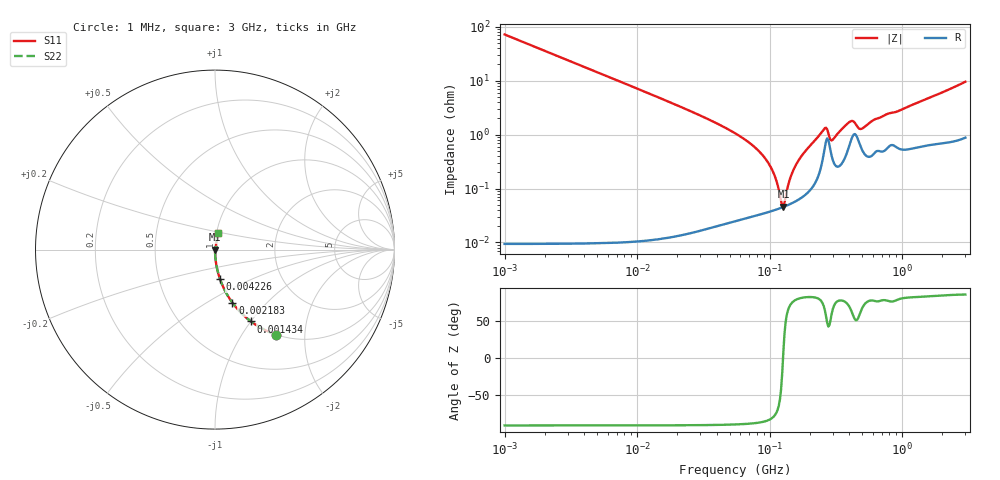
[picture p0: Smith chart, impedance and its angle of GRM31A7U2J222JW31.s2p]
!Murata Part Number: GRM31A7U2J222JW31
!These Parameters are Measured in Series Mode Connection
!Data Generated on Mar 30, 2021
!  o--ll--o
!Port1  Port2
!  o------o
!Operation Temp=25[degC], DC Bias Voltage=0[V]
!Freq. Start=1000[kHz] Stop=3[GHz] 401[Steps]
# Hz S RI R 50
!Freq.(Hz) S11(Real) S11(Imag) S21(Real) S21(Imag) S12(Real) S12(Imag) S22(Real) S22(Imag)
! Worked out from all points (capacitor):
!   401 points, 1 MHz to 3 GHz, reference 50 ohm
!   read as one part in series: C = 2.22 nF near 1.041 MHz
!   lowest |Z| = 46 mohm at 127 MHz (marker M1)
!   series resonance near 126.2 MHz, so ESL is about 720 pH
!   S11 on the Smith chart (normalised r, x): 1 MHz: 1.00, -1.43; 1.434 MHz: 1.00, -1.00; 2.183 MHz: 1.00, -0.66; 4.226 MHz: 1.00, -0.34; 3 GHz: 1.02, +0.19
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1000000  0.3396 -0.4735  0.6604 0.4735  0.6604 0.4735  0.3396 -0.4735
1433740  0.2001 -0.4  0.7999 0.4  0.7999 0.4  0.2001 -0.4
2182827  0.0974 -0.2964  0.9026 0.2964  0.9026 0.2964  0.0974 -0.2964
3823119  0.034 -0.181  0.966 0.181  0.966 0.181  0.034 -0.181
4225536  0.028 -0.1648  0.972 0.1648  0.972 0.1648  0.028 -0.1648
1.461624e7  0.00245 -0.0482  0.9976 0.0482  0.9976 0.0482  0.00245 -0.0482
5.477226e7  0.000359 -0.0106  0.9996 0.0106  0.9996 0.0106  0.000359 -0.0106
7.544761e7  0.000342 -0.00611  0.9997 0.00611  0.9997 0.00611  0.000342 -0.00611
9.402997e7  0.000367 -0.00341  0.9996 0.00341  0.9996 0.00341  0.000367 -0.00341
1.081723e8  0.000398 -0.00178  0.9996 0.00178  0.9996 0.00178  0.000398 -0.00178
1.219755e8  0.000438 -0.000393  0.9996 0.000393  0.9996 0.000393  0.000438 -0.000393
1.269575e8  0.000455 6.97e-05  0.9995 -6.97e-05  0.9995 -6.97e-05  0.000455 6.97e-05
1.295243e8  0.000464 0.000302  0.9995 -0.000302  0.9995 -0.000302  0.000464 0.000302
1.431579e8  0.000518 0.00148  0.9995 -0.00148  0.9995 -0.00148  0.000518 0.00148
1.550909e8  0.000575 0.00246  0.9994 -0.00246  0.9994 -0.00246  0.000575 0.00246
2.094008e8  0.00108 0.00677  0.9989 -0.00677  0.9989 -0.00677  0.00108 0.00677
2.609752e8  0.00591 0.0117  0.9941 -0.0117  0.9941 -0.0117  0.00591 0.0117
3.002264e8  0.00336 0.00732  0.9966 -0.00732  0.9966 -0.00732  0.00336 0.00732
4.0536e8  0.00721 0.0158  0.9928 -0.0158  0.9928 -0.0158  0.00721 0.0158
4.951867e8  0.00549 0.0115  0.9945 -0.0115  0.9945 -0.0115  0.00549 0.0115
8.005644e8  0.00662 0.0238  0.9934 -0.0238  0.9934 -0.0238  0.00662 0.0238
3e9  0.0174 0.0925  0.9826 -0.0925  0.9826 -0.0925  0.0174 0.0925
